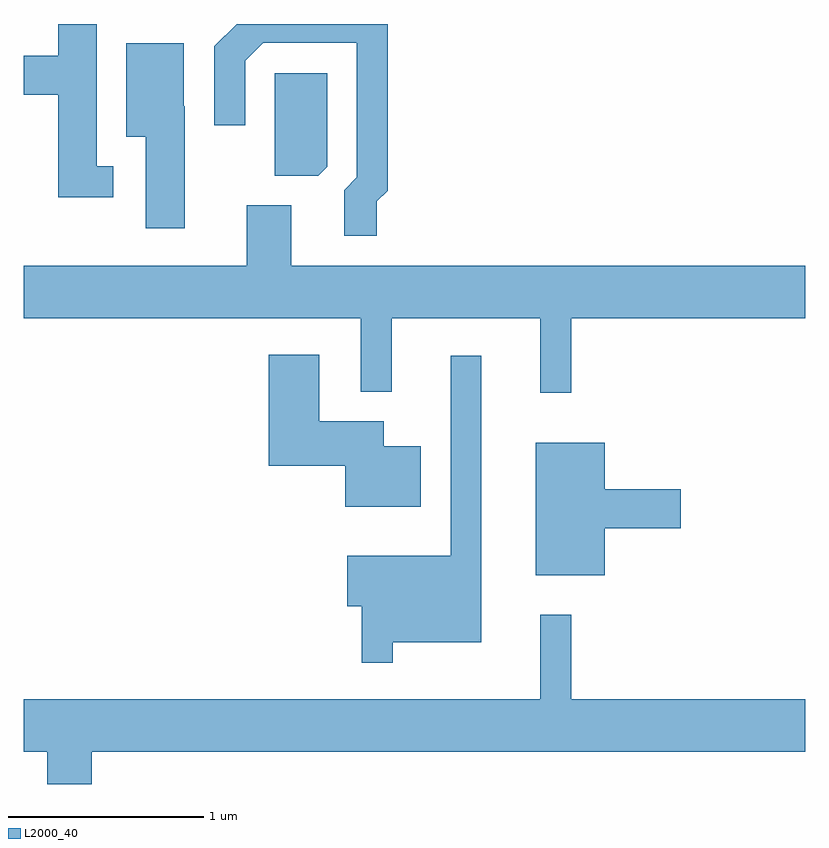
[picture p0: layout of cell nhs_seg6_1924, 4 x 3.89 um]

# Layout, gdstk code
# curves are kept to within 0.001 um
import gdstk
lib = gdstk.Library(unit=1e-6, precision=1e-09)
def P(c, l, *ps):  # polygons
    for p in ps: c.add(gdstk.Polygon(p, *l))
L2000_40 = (2000, 40)

nhs_seg6_1924 = lib.new_cell('nhs_seg6_1924')
P(nhs_seg6_1924, L2000_40, [(245.419,1597.254),(245.474,1597.309),(245.474,1598.162),(244.702,1598.162),(244.586,1598.047),(244.586,1597.643),(244.744,1597.643),(244.744,1597.974),(244.837,1598.066),(245.316,1598.066),(245.316,1597.377),(245.251,1597.312),(245.251,1597.078),(245.419,1597.078)],
  [(244.068,1597.434),(243.984,1597.434),(243.984,1598.162),(243.786,1598.162),(243.786,1597.999),(243.611,1597.999),(243.611,1597.801),(243.786,1597.801),(243.786,1597.276),(244.068,1597.276)],
  [(244.434,1597.74),(244.429,1597.74),(244.429,1598.064),(244.136,1598.064),(244.136,1597.586),(244.236,1597.586),(244.236,1597.116),(244.434,1597.116)],
  [(245.164,1597.432),(245.164,1597.909),(244.896,1597.909),(244.896,1597.386),(245.119,1597.386)],
  [(246.414,1596.656),(247.611,1596.656),(247.611,1596.924),(244.979,1596.924),(244.979,1597.234),(244.751,1597.234),(244.751,1596.924),(243.611,1596.924),(243.611,1596.656),(245.336,1596.656),(245.336,1596.278),(245.494,1596.278),(245.494,1596.656),(246.256,1596.656),(246.256,1596.273),(246.414,1596.273)],
  [(245.644,1595.999),(245.454,1595.999),(245.454,1596.129),(245.124,1596.129),(245.124,1596.469),(244.866,1596.469),(244.866,1595.901),(245.256,1595.901),(245.256,1595.691),(245.644,1595.691)],
  [(245.499,1594.996),(245.954,1594.996),(245.954,1596.463),(245.796,1596.463),(245.796,1595.439),(245.266,1595.439),(245.266,1595.181),(245.341,1595.181),(245.341,1594.893),(245.499,1594.893)],
  [(246.584,1595.581),(246.974,1595.581),(246.974,1595.779),(246.584,1595.779),(246.584,1596.019),(246.231,1596.019),(246.231,1595.341),(246.584,1595.341)],
  [(243.959,1594.436),(247.611,1594.436),(247.611,1594.704),(246.414,1594.704),(246.414,1595.138),(246.256,1595.138),(246.256,1594.704),(243.611,1594.704),(243.611,1594.436),(243.731,1594.436),(243.731,1594.271),(243.959,1594.271)])

lib.write_gds('nhs_seg6_1924.gds')
